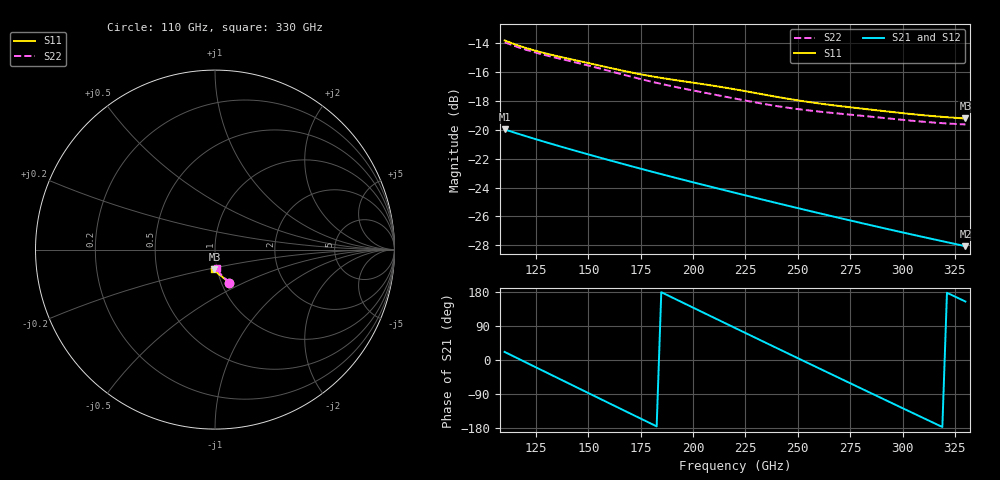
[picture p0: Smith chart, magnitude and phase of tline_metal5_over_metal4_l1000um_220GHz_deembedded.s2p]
! Created with skrf 2.2.0 (http://scikit-rf.org).
# GHz S DB R 50.0
! Port[1] = P1
! Port[2] = P2
!freq dBS11 angS11 dBS21 angS21 dBS12 angS12 dBS22 angS22
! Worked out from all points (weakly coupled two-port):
!   101 points, 110 GHz to 330 GHz, reference 50 ohm
!   highest |S21| = -19.97 dB at 110 GHz (marker M1); lowest = -28.1 dB at 330 GHz (marker M2)
!   lowest |S11| = -19.2 dB at 330 GHz (marker M3), VSWR 1.25, Z = 48.5 - j10.7 ohm
!   |S11| at or under -10 dB: start of sweep to end of sweep
!   |S22| runs from -19.6 to -13.9 dB; largest |S21 - S12| = 1.1e-13
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110  -13.81 -67.4  -19.97 21.3  -19.97 21.3  -13.93 -66.9
116.6  -14.16 -68.1  -20.28 3.4  -20.28 3.4  -14.28 -67.5
125.4  -14.55 -68.9  -20.67 -20.6  -20.67 -20.6  -14.67 -68.3
136.4  -14.94 -70.1  -21.14 -50.4  -21.14 -50.4  -15.07 -69.7
147.4  -15.29 -71.7  -21.60 -80.2  -21.60 -80.2  -15.45 -71.4
156.2  -15.57 -73.0  -21.95 -104.0  -21.95 -104.0  -15.78 -72.8
167.2  -15.92 -74.5  -22.39 -133.7  -22.39 -133.7  -16.20 -74.3
176  -16.18 -75.5  -22.73 -157.4  -22.73 -157.4  -16.52 -75.3
184.8  -16.40 -76.6  -23.07 178.9  -23.07 178.9  -16.82 -76.2
193.6  -16.60 -77.7  -23.40 155.3  -23.40 155.3  -17.09 -77.0
204.6  -16.83 -79.3  -23.80 125.8  -23.80 125.8  -17.40 -78.0
211.2  -16.98 -80.3  -24.04 108.2  -24.04 108.2  -17.59 -78.7
220  -17.19 -81.7  -24.36 84.7  -24.36 84.7  -17.83 -79.4
228.8  -17.42 -83.0  -24.67 61.2  -24.67 61.2  -18.07 -80.0
239.8  -17.71 -84.3  -25.06 31.9  -25.06 31.9  -18.35 -80.6
248.6  -17.93 -85.1  -25.37 8.5  -25.37 8.5  -18.53 -80.9
257.4  -18.12 -85.9  -25.68 -14.8  -25.68 -14.8  -18.69 -81.3
268.4  -18.32 -86.8  -26.05 -43.9  -26.05 -43.9  -18.85 -81.8
277.2  -18.47 -87.6  -26.35 -67.1  -26.35 -67.1  -18.98 -82.4
294.8  -18.76 -89.1  -26.93 -113.4  -26.93 -113.4  -19.23 -83.4
312.4  -19.02 -90.4  -27.50 -159.6  -27.50 -159.6  -19.47 -84.2
330  -19.21 -91.7  -28.06 154.4  -28.06 154.4  -19.62 -84.7
